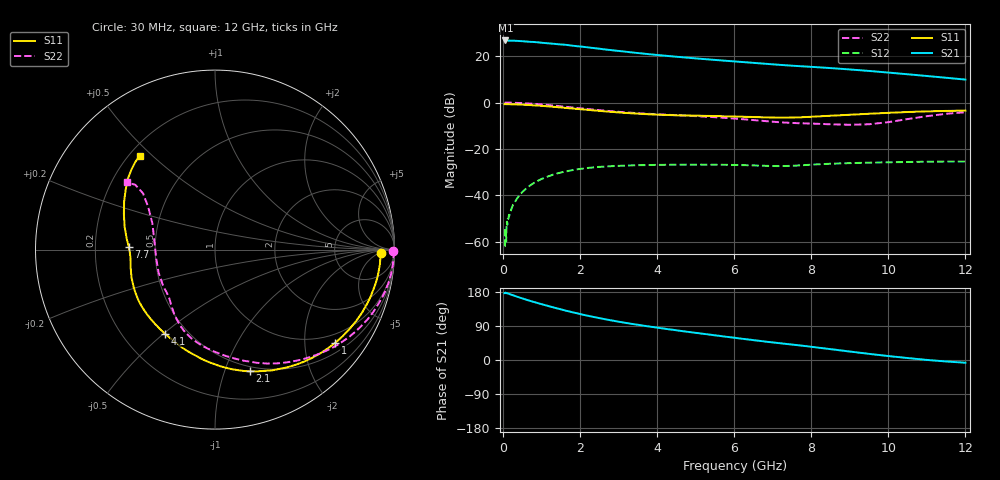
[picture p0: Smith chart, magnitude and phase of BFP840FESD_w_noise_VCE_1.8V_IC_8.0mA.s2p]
! Infineon Technologies  Discrete & RF Semiconductors
! BFP840FESD
! VCE =  1.8 V,  IC =  8.0 mA
! Common Emitter S-Parameters:  May 2012
# GHz  S  MA  R  50
!  f  S11  S21  S12  S22
! GHz  MAG  ANG  MAG  ANG  MAG  ANG  MAG  ANG
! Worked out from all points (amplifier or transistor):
!   103 points, 30 MHz to 12 GHz, reference 50 ohm
!   highest |S21| = 26.8 dB at 50 MHz (marker M1)
!   |S21| within 3 dB of that: start of sweep to 2.202 GHz
!   unconditionally stable (mu >= 1): 6.654 GHz to end of sweep
!   at 400 MHz: K = 0.08, MSG = 33.5 dB, |S12| = -40.4 dB
!   at 3.7 GHz: K = 0.47, MSG = 24.0 dB, |S12| = -27.0 dB
!   at 12 GHz: K = 1.19, MAG = 15.0 dB, |S12| = -25.4 dB
!   lowest NFmin = 0.61 dB at 450 MHz
!   S11 on the Smith chart (normalised r, x): 30 MHz: 23, -6; 1 GHz: 0.74, -2.74; 2.1 GHz: 0.45, -1.23; 4.1 GHz: 0.38, -0.50; 7.7 GHz: 0.35, +0.01; 12 GHz: 0.24, +0.46
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0.03  0.9234 -1.2  21.75 176.5  0.0008 89.3  0.9898 -0.5
0.04  0.9233 -1.6  21.75 176.3  0.0008 76.3  0.9917 -0.9
0.05  0.9222 -2.0  21.83 177.6  0.002 77.2  0.9946 -1.1
0.07  0.9228 -2.7  21.77 177.1  0.001 96.5  0.9943 -1.8
0.09  0.9219 -3.6  21.78 176.3  0.0027 89.8  0.9952 -2.5
0.3  0.9145 -11.8  21.49 168.9  0.0072 82.3  0.987 -9.4
0.6  0.891 -23.3  20.68 158.9  0.0142 74.8  0.9593 -18.5
0.8  0.8698 -30.7  20.23 152.8  0.0186 70.0  0.9355 -24.4
1  0.8475 -37.8  19.47 147.0  0.0227 65.3  0.9072 -30.1
1.3  0.8096 -48.3  18.51 138.7  0.0281 58.9  0.8614 -38.4
1.6  0.7689 -58.6  17.67 130.7  0.0324 52.5  0.8131 -46.3
2.1  0.7061 -73.9  15.82 118.8  0.038 43.9  0.7372 -58.8
2.5  0.6605 -84.9  14.45 110.3  0.0411 37.8  0.6848 -67.5
3.1  0.6021 -99.8  12.7 99.2  0.0435 31.1  0.6218 -78.8
3.6  0.5692 -110.7  11.44 91.2  0.0447 26.9  0.5825 -87.0
4.1  0.5454 -120.9  10.41 83.9  0.0454 23.7  0.5536 -94.1
5  0.5211 -137.9  8.954 71.6  0.0458 19.3  0.5088 -105.4
6.1  0.4968 -156.4  7.603 57.3  0.045 16.0  0.4453 -118.4
7.7  0.4805 178.2  6.089 38.5  0.0442 21.4  0.358 -139.7
8.5  0.5195 165.8  5.539 28.6  0.048 21.7  0.3397 -157.5
10.5  0.6255 141.0  4.076 5.2  0.0523 19.7  0.4408 147.5
12  0.6699 128.6  3.127 -7.2  0.0535 20.3  0.6174 142.7
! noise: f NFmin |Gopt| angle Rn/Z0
0.45  0.61  0.39  5  0.15
0.9  0.64  0.38  12  0.15
1.5  0.65  0.35  17  0.14
1.9  0.66  0.31  26  0.15
2.4  0.68  0.3  34  0.15
3.5  0.7  0.28  55  0.15
5.5  0.76  0.19  96  0.12
8  0.89  0.16  156  0.12
10  1.03  0.24  -142  0.12
12  1.25  0.41  -119  0.13
